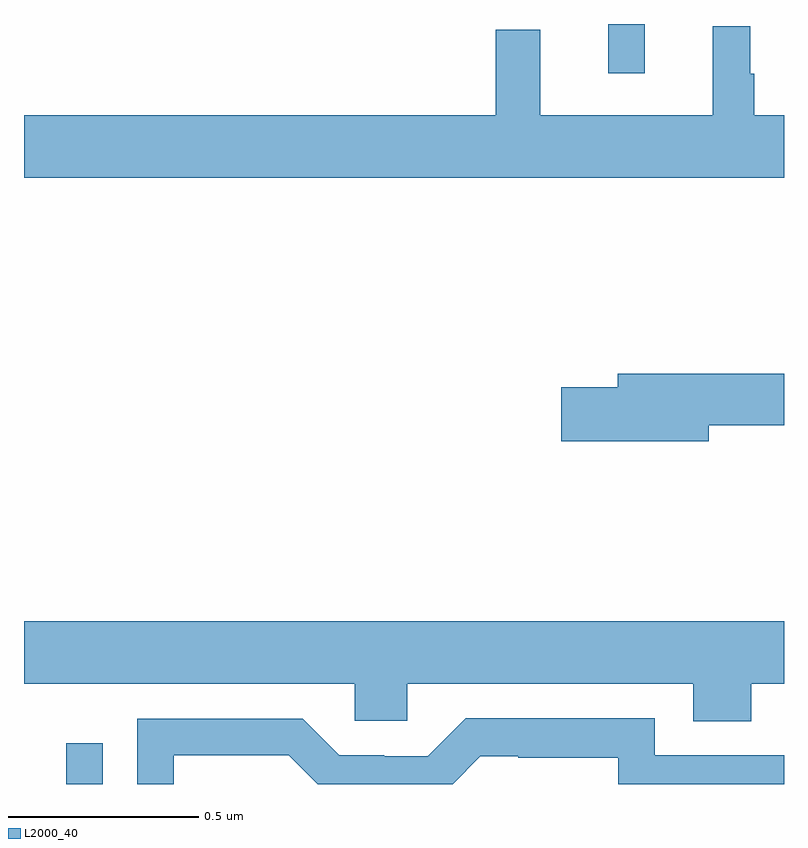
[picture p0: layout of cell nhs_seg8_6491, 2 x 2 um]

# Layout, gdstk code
import gdstk
lib = gdstk.Library(unit=1e-6, precision=1e-09)
def R(c, l, rs):  # rectangles x0, y0, x1, y1
    for r in rs: c.add(gdstk.rectangle(r[:2], r[2:], *l))
def P(c, l, *ps):  # polygons
    for p in ps: c.add(gdstk.Polygon(p, *l))
L2000_40 = (2000, 40)

nhs_seg8_6491 = lib.new_cell('nhs_seg8_6491')
R(nhs_seg8_6491, L2000_40, [(197.111,1118.9,197.207,1119.007), (198.537,1120.77,198.634,1120.9)])
P(nhs_seg8_6491, L2000_40, [(199,1120.66),(198.922,1120.66),(198.922,1120.769),(198.911,1120.769),(198.911,1120.894),(198.812,1120.894),(198.812,1120.66),(198.359,1120.66),(198.359,1120.885),(198.241,1120.885),(198.241,1120.66),(197,1120.66),(197,1120.496),(199,1120.496)],
  [(198.802,1119.844),(199,1119.844),(199,1119.98),(198.563,1119.98),(198.563,1119.944),(198.414,1119.944),(198.414,1119.802),(198.802,1119.802)],
  [(198.914,1119.164),(199,1119.164),(199,1119.328),(197,1119.328),(197,1119.164),(197.871,1119.164),(197.871,1119.066),(198.009,1119.066),(198.009,1119.164),(198.761,1119.164),(198.761,1119.065),(198.914,1119.065)],
  [(197.394,1118.976),(197.697,1118.976),(197.773,1118.9),(198.128,1118.9),(198.201,1118.973),(198.301,1118.973),(198.301,1118.969),(198.564,1118.969),(198.564,1118.9),(199,1118.9),(199,1118.976),(198.66,1118.976),(198.66,1119.073),(198.163,1119.073),(198.063,1118.973),(197.948,1118.973),(197.948,1118.976),(197.829,1118.976),(197.733,1119.072),(197.298,1119.072),(197.298,1118.9),(197.394,1118.9)])

lib.write_gds('nhs_seg8_6491.gds')
